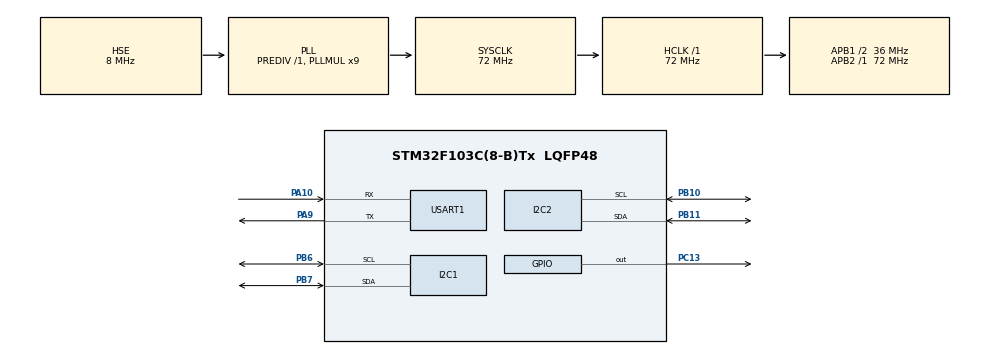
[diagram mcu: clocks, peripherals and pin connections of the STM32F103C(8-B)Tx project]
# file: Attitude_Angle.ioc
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FREERTOS.Tasks01=Attitude_Angle,24,128,StartAttitude_Angle,Default,NULL,Dynamic,NULL,NULL;OLED,24,128,StartOLED,Default,NULL,Dynamic,NULL,NULL
Mcu.Family=STM32F1
Mcu.Name=STM32F103C(8-B)Tx
Mcu.Package=LQFP48
NVIC.PriorityGroup=NVIC_PRIORITYGROUP_4
NVIC.TIM1_UP_IRQn=true\:15\:0\:false\:false\:true\:false\:false\:true\:true
NVIC.TimeBase=TIM1_UP_IRQn
NVIC.TimeBaseIP=TIM1
PA10.Mode=Asynchronous
PA10.Signal=USART1_RX
PA13.Mode=Serial_Wire
PA13.Signal=SYS_JTMS-SWDIO
PA14.Mode=Serial_Wire
PA14.Signal=SYS_JTCK-SWCLK
PA9.Mode=Asynchronous
PA9.Signal=USART1_TX
PB10.Mode=I2C
PB10.Signal=I2C2_SCL
PB11.Mode=I2C
PB11.Signal=I2C2_SDA
PB6.Mode=I2C
PB6.Signal=I2C1_SCL
PB7.Mode=I2C
PB7.Signal=I2C1_SDA
PC13-TAMPER-RTC.Signal=GPIO_Output
PC14-OSC32_IN.Mode=LSE-External-Oscillator
PC14-OSC32_IN.Signal=RCC_OSC32_IN
PC15-OSC32_OUT.Mode=LSE-External-Oscillator
PC15-OSC32_OUT.Signal=RCC_OSC32_OUT
PD0-OSC_IN.Mode=HSE-External-Oscillator
PD0-OSC_IN.Signal=RCC_OSC_IN
PD1-OSC_OUT.Mode=HSE-External-Oscillator
PD1-OSC_OUT.Signal=RCC_OSC_OUT
ProjectManager.HeapSize=0x200
ProjectManager.StackSize=0x400
ProjectManager.TargetToolchain=MDK-ARM V5.32
RCC.AHBFreq_Value=72000000
RCC.APB1CLKDivider=RCC_HCLK_DIV2
RCC.APB1Freq_Value=36000000
RCC.APB1TimFreq_Value=72000000
RCC.APB2Freq_Value=72000000
RCC.APB2TimFreq_Value=72000000
RCC.HCLKFreq_Value=72000000
RCC.PLLMUL=RCC_PLL_MUL9
RCC.PLLSourceVirtual=RCC_PLLSOURCE_HSE
RCC.SYSCLKFreq_VALUE=72000000
RCC.SYSCLKSource=RCC_SYSCLKSOURCE_PLLCLK
RCC.USBFreq_Value=72000000
USART1.VirtualMode=VM_ASYNC
VP_FREERTOS_VS_CMSIS_V2.Mode=CMSIS_V2
VP_SYS_VS_tim1.Mode=TIM1
board=custom

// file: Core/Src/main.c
/* USER CODE BEGIN Header */
/**
  ******************************************************************************
  * @file           : main.c
  * @brief          : Main program body
  ******************************************************************************
  * @attention
  *
  * Copyright (c) 2025 STMicroelectronics.
  * All rights reserved.
  *
  * This software is licensed under terms that can be found in the LICENSE file
  * in the root directory of this software component.
  * If no LICENSE file comes with this software, it is provided AS-IS.
  *
  ******************************************************************************
  */
/* USER CODE END Header */
#include "main.h"
#include "cmsis_os.h"
#include "i2c.h"
#include "usart.h"
#include "gpio.h"

/* USER CODE BEGIN Includes */

#include "oled.h"

/* USER CODE END Includes */

void SystemClock_Config(void);
void MX_FREERTOS_Init(void);

int main(void)
{

  /* MCU Configuration--------------------------------------------------------*/

  /* Reset of all peripherals, Initializes the Flash interface and the Systick. */
  HAL_Init();

  /* Configure the system clock */
  SystemClock_Config();

  /* Initialize all configured peripherals */
  MX_GPIO_Init();
  MX_I2C1_Init();
  MX_USART1_UART_Init();
  MX_I2C2_Init();
  /* USER CODE BEGIN 2 */

	OLED_Init();
	HAL_UART_Transmit(&huart1, (uint8_t*)"SystemLink\n", 11, 1000);

  /* USER CODE END 2 */

  /* Init scheduler */
  osKernelInitialize();  /* Call init function for freertos objects (in cmsis_os2.c) */
  MX_FREERTOS_Init();

  /* Start scheduler */
  osKernelStart();

  /* We should never get here as control is now taken by the scheduler */

  /* Infinite loop */
  while (1)
  {

  }
}

void SystemClock_Config(void)
{
  RCC_OscInitTypeDef RCC_OscInitStruct = {0};
  RCC_ClkInitTypeDef RCC_ClkInitStruct = {0};

  /** Initializes the RCC Oscillators according to the specified parameters
  * in the RCC_OscInitTypeDef structure.
  */
  RCC_OscInitStruct.OscillatorType = RCC_OSCILLATORTYPE_HSE;
  RCC_OscInitStruct.HSEState = RCC_HSE_ON;
  RCC_OscInitStruct.HSEPredivValue = RCC_HSE_PREDIV_DIV1;
  RCC_OscInitStruct.HSIState = RCC_HSI_ON;
  RCC_OscInitStruct.PLL.PLLState = RCC_PLL_ON;
  RCC_OscInitStruct.PLL.PLLSource = RCC_PLLSOURCE_HSE;
  RCC_OscInitStruct.PLL.PLLMUL = RCC_PLL_MUL9;
  if (HAL_RCC_OscConfig(&RCC_OscInitStruct) != HAL_OK)
  {
    Error_Handler();
  }

  /** Initializes the CPU, AHB and APB buses clocks
  */
  RCC_ClkInitStruct.ClockType = RCC_CLOCKTYPE_HCLK|RCC_CLOCKTYPE_SYSCLK
                              |RCC_CLOCKTYPE_PCLK1|RCC_CLOCKTYPE_PCLK2;
  RCC_ClkInitStruct.SYSCLKSource = RCC_SYSCLKSOURCE_PLLCLK;
  RCC_ClkInitStruct.AHBCLKDivider = RCC_SYSCLK_DIV1;
  RCC_ClkInitStruct.APB1CLKDivider = RCC_HCLK_DIV2;
  RCC_ClkInitStruct.APB2CLKDivider = RCC_HCLK_DIV1;

  if (HAL_RCC_ClockConfig(&RCC_ClkInitStruct, FLASH_LATENCY_2) != HAL_OK)
  {
    Error_Handler();
  }
}

void HAL_TIM_PeriodElapsedCallback(TIM_HandleTypeDef *htim)
{
  if (htim->Instance == TIM1)
  {
    HAL_IncTick();
  }
}

void Error_Handler(void)
{
  __disable_irq();
  while (1)
  {
  }
}

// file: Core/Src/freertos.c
/* USER CODE BEGIN Header */
/**
  ******************************************************************************
  * File Name          : freertos.c
  * Description        : Code for freertos applications
  ******************************************************************************
  * @attention
  *
  * Copyright (c) 2025 STMicroelectronics.
  * All rights reserved.
  *
  * This software is licensed under terms that can be found in the LICENSE file
  * in the root directory of this software component.
  * If no LICENSE file comes with this software, it is provided AS-IS.
  *
  ******************************************************************************
  */
/* USER CODE END Header */

#include "FreeRTOS.h"
#include "task.h"
#include "main.h"
#include "cmsis_os.h"

/* USER CODE BEGIN Includes */

#define ACC_R 0.00000013 // 加速度的测量方差
#define GYR_R 1.388542 // 角速度的测量方差
#define RPY_R 1.0 // 偏航角测量方差

#define ACC_Q 0.0000000035 // 加速度的过程方差
#define GYR_Q 0.04 // 角速度的过程方差
#define RPY_Q 1.0 // 偏航角过程方差

#define X_BIAS -2.684 // X轴角速度零偏
#define Y_BIAS -2.841 // Y轴角速度零偏
#define Z_BIAS -1.768 // Z轴角速度零偏

#define BIAS 90.0 / 19.14
#define PI_AR  180.0 / 3.1415927

#include "stdio.h"
#include "math.h"
#include "oled.h"

extern I2C_HandleTypeDef hi2c1;
extern UART_HandleTypeDef huart1;

double ACC_P_; // 加速度先验协方差
double ACC_P = 0; // 加速度后验协方差
double ACC_K; // 加速度卡尔曼增益

double GYR_P_; // 角速度先验协方差
double GYR_P = 0; // 角速度后验协方差
double GYR_K; // 角速度卡尔曼增益

double Roll_G = 0.0; // 角速度翻滚角
double Pitch_G = 0.0; // 角速度俯仰角
double Yaw_G = 0.0; // 角速度偏航角

double Roll_A = 0.0; // 加速度翻滚角
double Pitch_A = 0.0; // 加速度俯仰角
//double Yaw_A; // 加速度偏航角

double Roll = 0.0; // 翻滚角
double Pitch = 0.0; // 俯仰角
double Yaw = 0.0; // 偏航角

char Pitch_Val[32];
char Roll_Val[32];
char Yaw_Val[32];

typedef struct{
	double X_; // 加速度预测值
	double Y_;
	double Z_;
	double X; // 加速度最优值
	double Y;
	double Z;
	double XZ; // 加速度观测值
	double YZ;
	double ZZ;

}ACCTYPE;
ACCTYPE Acc = {0, 0, 0, 0, 0, 0, 0, 0, 0};

typedef struct{
	double X_; // 角速度预测值
	double Y_;
	double Z_;
	double X; // 角速度最优值
	double Y;
	double Z;
	double XZ; // 角速度观测值
	double YZ;
	double ZZ;

}GYRTYPE;
GYRTYPE Gyr = {0, 0, 0, 0, 0, 0, 0, 0, 0};

/* USER CODE END Includes */

/* Definitions for Attitude_Angle */
osThreadId_t Attitude_AngleHandle;
const osThreadAttr_t Attitude_Angle_attributes = {
  .name = "Attitude_Angle",
  .stack_size = 128 * 4,
  .priority = (osPriority_t) osPriorityNormal,
};
/* Definitions for OLED */
osThreadId_t OLEDHandle;
const osThreadAttr_t OLED_attributes = {
  .name = "OLED",
  .stack_size = 128 * 4,
  .priority = (osPriority_t) osPriorityNormal,
};

/* USER CODE BEGIN FunctionPrototypes */
void MPU6050_INIT(){

	HAL_Delay(1000);//   延时*********这里要增加***原本为100

	uint8_t SendAddress = 0x6b;
	uint8_t SendData = 0x00; //解除休眠状态
	HAL_I2C_Mem_Write(&hi2c1,0xD1,SendAddress,1,&SendData,1,0xff);
	SendAddress = 0x19;//采样率分频器
	SendData = 0x07;
	HAL_I2C_Mem_Write(&hi2c1,0xD1,SendAddress,1,&SendData,1,0xff);
	SendAddress = 0x1A;//低通滤波器
	SendData = 0x06;
	HAL_I2C_Mem_Write(&hi2c1,0xD1,SendAddress,1,&SendData,1,0xff);
	SendAddress = 0x1B;//陀螺仪
	SendData = 0x08; //± 500 °/s
	HAL_I2C_Mem_Write(&hi2c1,0xD1,SendAddress,1,&SendData,1,0xff);
	SendAddress = 0x1C;//加速度计
	SendData = 0x00; //± 2g
	HAL_I2C_Mem_Write(&hi2c1,0xD1,SendAddress,1,&SendData,1,0xff);
}

void Kalman_Filter_Acc(double raw_x, double raw_y, double raw_z){
	// 获取预测值
	Acc.X_ = Acc.X;
	Acc.Y_ = Acc.Y;
	Acc.Z_ = Acc.Z;
	// 计算先验协方差
	ACC_P_ = ACC_P + ACC_Q;
	// 计算卡尔曼增益
	ACC_K = ACC_P_/(ACC_P_ + ACC_R);
	// 计算最优值
	Acc.X = Acc.X_ + ACC_K * (raw_x - Acc.X_);
	Acc.Y = Acc.Y_ + ACC_K * (raw_y - Acc.Y_);
	Acc.Z = Acc.Z_ + ACC_K * (raw_z - Acc.Z_);
	// 计算后验协方差
	ACC_P = (1 - ACC_K) * ACC_P_;
}

void Kalman_Filter_Gyr(double raw_x, double raw_y, double raw_z){
	// 获取预测值
	Gyr.X_ = Gyr.X;
	Gyr.Y_ = Gyr.Y;
	Gyr.Z_ = Gyr.Z;
	// 计算先验协方差
	GYR_P_ = GYR_P + GYR_Q;
	// 计算卡尔曼增益
	GYR_K = GYR_P_/(GYR_P_ + GYR_R);
	// 计算最优值
	Gyr.X = Gyr.X_ + GYR_K * (raw_x - Gyr.X_);
	Gyr.Y = Gyr.Y_ + GYR_K * (raw_y - Gyr.Y_);
	Gyr.Z = Gyr.Z_ + GYR_K * (raw_z - Gyr.Z_);
	// 计算后验协方差
	GYR_P = (1 - GYR_K) * GYR_P_;
}

void Get_RPY_G(){ // 角速度计算欧拉角
	Roll_G = Roll + Gyr.Y * 0.002;
	Pitch_G = Pitch + Gyr.X * 0.002;
	if(fabs(Gyr.Z) > 0.30){
		Yaw_G = Yaw + Gyr.Z * 0.002 * BIAS;
	}
}

void Get_RPY_A(){ // 加速度计算欧拉角
	Roll_A = atan2(Acc.X, Acc.Z) * PI_AR;
	Pitch_A = atan2(Acc.Y, Acc.Z) * PI_AR;
}

void Get_RPY(){ // 计算最终欧拉角
	Roll = 0.95238 * Roll_G + (1 - 0.95238) * Roll_A;
	Pitch = 0.95238 * Pitch_G + (1 - 0.95238) * Pitch_A;
	Yaw = Yaw_G;
}

char buffer[128];
int length;
uint8_t MPUData[14];
uint8_t StarAddress = 0x3b;

/* USER CODE END FunctionPrototypes */

void StartAttitude_Angle(void *argument);
void StartOLED(void *argument);

void MX_FREERTOS_Init(void); /* (MISRA C 2004 rule 8.1) */

void MX_FREERTOS_Init(void) {

  /* Create the thread(s) */
  /* creation of Attitude_Angle */
  Attitude_AngleHandle = osThreadNew(StartAttitude_Angle, NULL, &Attitude_Angle_attributes);

  /* creation of OLED */
  OLEDHandle = osThreadNew(StartOLED, NULL, &OLED_attributes);

}

void StartAttitude_Angle(void *argument)
{
  /* USER CODE BEGIN StartAttitude_Angle */
	uint32_t Time = 0;
	MPU6050_INIT();
  /* Infinite loop */
  for(;;)
  {
		static uint32_t nxt = 0;
		HAL_I2C_Mem_Read(&hi2c1, 0XD1, StarAddress, I2C_MEMADD_SIZE_8BIT, MPUData, 14, 50); // 读取MPU6050数据
		// 读取三维加速度
		short int ACC_X1 = ((MPUData[0]<<8) | MPUData[1]);
		Acc.XZ = (double)ACC_X1/16384;
		short int ACC_Y1 =((MPUData[2]<<8)| MPUData[3]);
		Acc.YZ = (double)ACC_Y1/16384;
		short int ACC_Z1=((MPUData[4]<<8) | MPUData[5]);
		Acc.ZZ = (double)ACC_Z1/16384;
		// 读取三维角速度
		short int GYR_X1= ((MPUData[8]<<8) | MPUData[9]);
		Gyr.XZ = (double)GYR_X1/65.5 - X_BIAS;
		short int GYR_Y1 = ((MPUData[10]<<8) | MPUData[11]);
		Gyr.YZ = (double)GYR_Y1/65.5 - Y_BIAS;
		short int GYR_Z1 = ((MPUData[12]<<8) | MPUData[13]);
		Gyr.ZZ = (double)GYR_Z1/65.5 - Z_BIAS;

		// 进行卡尔曼滤波
		Kalman_Filter_Acc(Acc.XZ,Acc.YZ,Acc.ZZ);
		Kalman_Filter_Gyr(Gyr.XZ,Gyr.YZ,Gyr.ZZ);
		//获取加速度和角速度计算出的欧拉角，并互补滤波
		Get_RPY_A();
		Get_RPY_G();
		Get_RPY();

//		length = sprintf(buffer, "%.3f,%.3f,%.3f,%.3f,%.3f,%.3f\n", Gyr.X, Gyr.Y,Gyr.Z, Gyr.XZ, Gyr.YZ,Gyr.ZZ);
//		length = sprintf(buffer, "%.3f,%.3f,%.3f,%.3f,%.3f,%.3f\n", Gyr.X, Gyr.Y,Gyr.Z, Pitch, 0 - Roll, Yaw_G);
//		length = sprintf(buffer, "%.3f,%.3f,%.3f,%.2f,%.2f,%.2f\n", Gyr.XZ,Gyr.YZ,Gyr.ZZ,Gyr.X,Gyr.Y,Gyr.Z);
		length = sprintf(buffer, "%.3f,%.3f,%.3f,%.3f,%.3f,%.3f\n", Pitch_G, Roll_G, Yaw_G, Pitch, 0.0 - Roll, Yaw_G);
		HAL_UART_Transmit(&huart1, (uint8_t*)buffer, length, 100);
		sprintf(Pitch_Val, "Pitch:%.3f", Pitch);
		sprintf(Roll_Val, "Roll: %.3f", Roll);
		sprintf(Yaw_Val, "Yaw:  %.3f", Yaw);
		while(Time < nxt){
			Time = HAL_GetTick();
		}
		nxt = nxt + 2;
  }
  /* USER CODE END StartAttitude_Angle */
}

void StartOLED(void *argument)
{
  /* USER CODE BEGIN StartOLED */
  /* Infinite loop */
  for(;;)
  {
		static uint32_t index = 0;
		switch(index){
			case 0:
			OLED_ShowStr(2, 0, Pitch_Val, 5);
			case 1:
			OLED_ShowStr(2, 1, Roll_Val, 5);
			case 2:
			OLED_ShowStr(2, 2, Yaw_Val, 5);
		}
		if(index < 2){
			index ++;
		}
		else{
			index = 0;
		}
		osDelay(10);
  }
  /* USER CODE END StartOLED */
}
